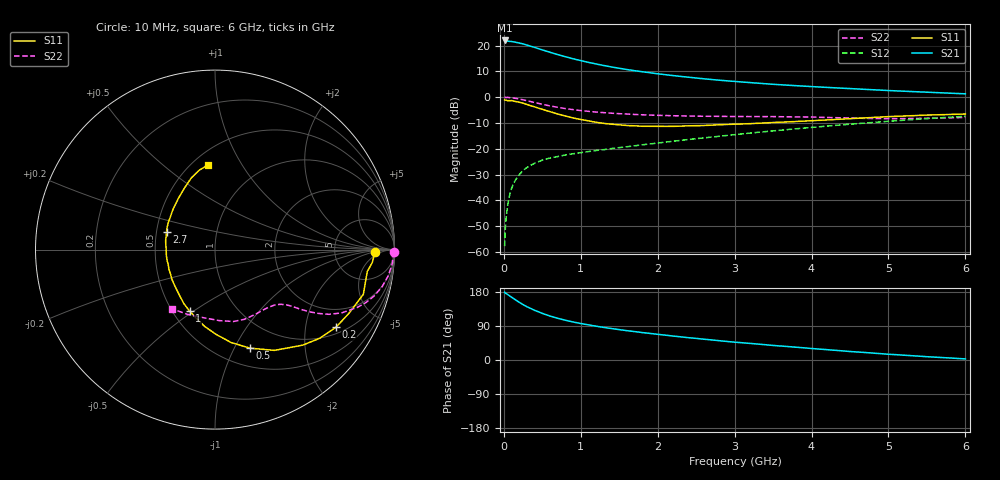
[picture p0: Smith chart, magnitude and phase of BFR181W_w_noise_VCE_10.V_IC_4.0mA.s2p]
! Infineon Technologies  Discrete & RF Semiconductors
! BFR181W
! VCE =  10. V,  IC =  4.0 mA
! Common Emitter S-Parameters:  Jan 2017
# GHz  S  MA  R  50
!  f  S11  S21  S12  S22
! GHz  MAG  ANG  MAG  ANG  MAG  ANG  MAG  ANG
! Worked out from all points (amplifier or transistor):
!   77 points, 10 MHz to 6 GHz, reference 50 ohm
!   highest |S21| = 22.0 dB at 10 MHz (marker M1)
!   |S21| within 3 dB of that: start of sweep to 432.1 MHz
!   unconditionally stable (mu >= 1): 1.498 GHz to 3.578 GHz
!   at 130 MHz: K = 0.13, MSG = 27.4 dB, |S12| = -33.3 dB
!   at 2.2 GHz: K = 1.08, MAG = 11.0 dB, |S12| = -17.1 dB
!   at 6 GHz: K = 0.85, MSG = 4.3 dB, |S12| = -7.4 dB
!   lowest NFmin = 0.92 dB at 450 MHz
!   S11 on the Smith chart (normalised r, x): 10 MHz: 17, -2; 200 MHz: 1.22, -2.95; 500 MHz: 0.70, -1.16; 1 GHz: 0.61, -0.48; 2.7 GHz: 0.57, +0.12; 6 GHz: 0.60, +0.72
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0.01  0.8921 -0.8  12.59 178.8  0.0013 96.8  0.9988 -0.9
0.02  0.8795 -4.6  12.47 176.6  0.003 98.2  0.9903 -1.5
0.03  0.8717 -5.8  12.39 175.4  0.0046 90.0  0.9906 -2.4
0.07  0.8573 -11.7  12.12 170.0  0.0116 82.8  0.985 -6.0
0.15  0.827 -25.3  11.65 159.0  0.0247 76.7  0.9533 -12.6
0.2  0.8009 -32.7  11.22 152.3  0.0315 72.9  0.9237 -16.2
0.25  0.7643 -40.3  10.78 146.2  0.0383 68.8  0.8915 -19.3
0.3  0.7223 -47.5  10.24 140.6  0.0434 66.1  0.8558 -22.1
0.4  0.6516 -59.5  9.246 131.0  0.0526 61.2  0.7897 -26.5
0.5  0.5824 -70.5  8.256 123.0  0.0603 57.7  0.7301 -29.6
0.6  0.5251 -80.2  7.431 116.0  0.0664 55.6  0.6792 -31.6
0.7  0.4727 -89.2  6.694 110.1  0.0709 54.9  0.6373 -33.1
0.8  0.4327 -97.5  6.097 104.9  0.0761 54.5  0.6027 -34.2
1  0.3703 -112.5  5.124 96.3  0.0842 53.9  0.5508 -35.8
1.1  0.3485 -119.6  4.738 92.7  0.0886 54.0  0.5329 -36.4
1.5  0.2919 -145.0  3.641 80.2  0.1055 55.7  0.48 -39.4
2.1  0.2719 -176.7  2.734 65.5  0.1349 58.3  0.4419 -46.1
2.7  0.2875 159.7  2.206 53.0  0.169 59.2  0.4268 -55.0
3.1  0.3035 147.2  1.971 45.5  0.195 58.8  0.4226 -61.2
4.1  0.3565 123.6  1.578 28.8  0.2676 55.2  0.409 -77.7
5.1  0.4265 106.7  1.327 14.0  0.3498 48.5  0.3845 -101.9
6  0.4729 94.7  1.163 2.8  0.4275 40.5  0.4068 -125.7
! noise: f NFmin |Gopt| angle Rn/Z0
0.45  0.92  0.39  16  0.24
0.9  0.97  0.36  31  0.24
1.9  1.4  0.2  79  0.2
2.4  1.56  0.17  94  0.22
